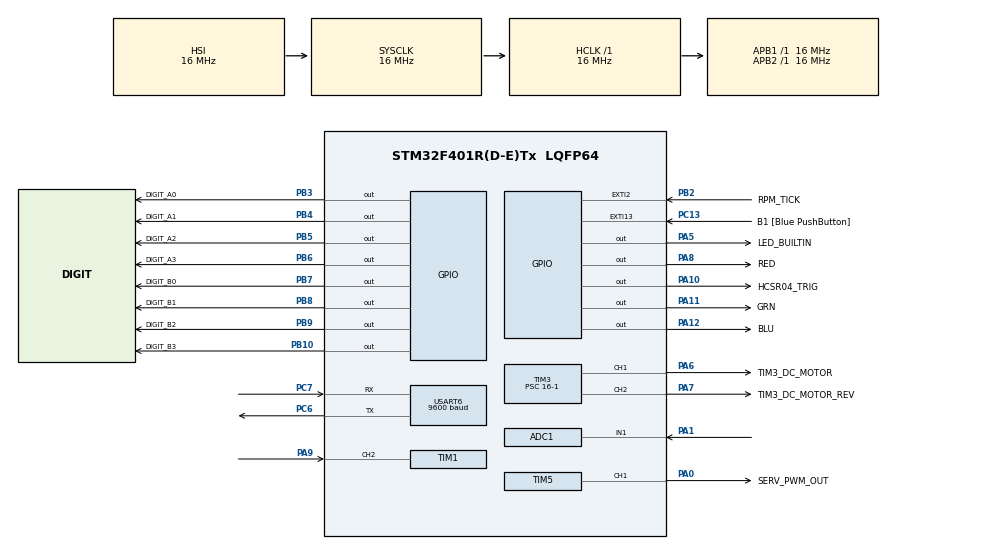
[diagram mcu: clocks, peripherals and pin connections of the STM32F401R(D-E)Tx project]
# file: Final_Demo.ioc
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ADC1.Channel-3\#ChannelRegularConversion=ADC_CHANNEL_1
ADC1.NbrOfConversionFlag=1
ADC1.Rank-3\#ChannelRegularConversion=1
ADC1.Resolution=ADC_RESOLUTION_8B
ADC1.SamplingTime-3\#ChannelRegularConversion=ADC_SAMPLETIME_15CYCLES
ADC1.ScanConvMode=ENABLE
ADC1.master=1
Mcu.Family=STM32F4
Mcu.Name=STM32F401R(D-E)Tx
Mcu.Package=LQFP64
NVIC.EXTI15_10_IRQn=true\:0\:0\:false\:false\:true\:true\:true\:true
NVIC.EXTI2_IRQn=true\:0\:0\:false\:false\:true\:true\:true\:true
NVIC.PriorityGroup=NVIC_PRIORITYGROUP_0
NVIC.TIM1_BRK_TIM9_IRQn=true\:0\:0\:false\:false\:true\:true\:true\:true
NVIC.TIM1_CC_IRQn=true\:0\:0\:false\:false\:true\:true\:true\:true
NVIC.TIM4_IRQn=true\:0\:0\:false\:false\:true\:true\:true\:true
NVIC.USART6_IRQn=true\:0\:0\:false\:false\:true\:true\:true\:true
PA0-WKUP.GPIO_Label=SERV_PWM_OUT
PA0-WKUP.Signal=S_TIM5_CH1
PA1.Signal=ADCx_IN1
PA10.GPIO_Label=HCSR04_TRIG
PA10.GPIO_Speed=GPIO_SPEED_FREQ_VERY_HIGH
PA10.Signal=GPIO_Output
PA11.GPIO_Label=GRN
PA11.Signal=GPIO_Output
PA12.GPIO_Label=BLU
PA12.Signal=GPIO_Output
PA13.GPIO_Label=TMS
PA13.Mode=Serial_Wire
PA13.Signal=SYS_JTMS-SWDIO
PA14.GPIO_Label=TCK
PA14.Mode=Serial_Wire
PA14.Signal=SYS_JTCK-SWCLK
PA5.GPIO_Label=LED_BUILTIN
PA5.Signal=GPIO_Output
PA6.GPIO_Label=TIM3_DC_MOTOR
PA6.Signal=S_TIM3_CH1
PA7.GPIO_Label=TIM3_DC_MOTOR_REV
PA7.Signal=S_TIM3_CH2
PA8.GPIO_Label=RED
PA8.Signal=GPIO_Output
PA9.Signal=S_TIM1_CH2
PB10.GPIO_Label=DIGIT_B3
PB10.Signal=GPIO_Output
PB2.GPIO_Label=RPM_TICK
PB2.GPIO_ModeDefaultEXTI=GPIO_MODE_IT_RISING
PB2.Signal=GPXTI2
PB3.GPIO_Label=DIGIT_A0
PB3.Signal=GPIO_Output
PB4.GPIO_Label=DIGIT_A1
PB4.Signal=GPIO_Output
PB5.GPIO_Label=DIGIT_A2
PB5.Signal=GPIO_Output
PB6.GPIO_Label=DIGIT_A3
PB6.Signal=GPIO_Output
PB7.GPIO_Label=DIGIT_B0
PB7.Signal=GPIO_Output
PB8.GPIO_Label=DIGIT_B1
PB8.Signal=GPIO_Output
PB9.GPIO_Label=DIGIT_B2
PB9.Signal=GPIO_Output
PC13-ANTI_TAMP.GPIO_Label=B1 [Blue PushButton]
PC13-ANTI_TAMP.GPIO_ModeDefaultEXTI=GPIO_MODE_IT_RISING_FALLING
PC13-ANTI_TAMP.GPIO_PuPd=GPIO_NOPULL
PC13-ANTI_TAMP.Signal=GPXTI13
PC14-OSC32_IN.Mode=LSE-External-Oscillator
PC14-OSC32_IN.Signal=RCC_OSC32_IN
PC15-OSC32_OUT.Mode=LSE-External-Oscillator
PC15-OSC32_OUT.Signal=RCC_OSC32_OUT
PC6.Mode=Asynchronous
PC6.Signal=USART6_TX
PC7.Mode=Asynchronous
PC7.Signal=USART6_RX
PH0\ -\ OSC_IN.Mode=HSE-External-Clock-Source
PH0\ -\ OSC_IN.Signal=RCC_OSC_IN
PH1\ -\ OSC_OUT.Mode=HSE-External-Clock-Source
PH1\ -\ OSC_OUT.Signal=RCC_OSC_OUT
ProjectManager.HeapSize=0x200
ProjectManager.StackSize=0x400
ProjectManager.TargetToolchain=STM32CubeIDE
RCC.48MHZClocksFreq_Value=48000000
RCC.AHBFreq_Value=16000000
RCC.APB1Freq_Value=16000000
RCC.APB1TimFreq_Value=16000000
RCC.APB2Freq_Value=16000000
RCC.APB2TimFreq_Value=16000000
RCC.CortexFreq_Value=16000000
RCC.HCLKFreq_Value=16000000
RCC.HSE_VALUE=8000000
RCC.HSI_VALUE=16000000
RCC.PLLN=336
RCC.PLLP=RCC_PLLP_DIV4
RCC.PLLQ=7
RCC.SYSCLKFreq_VALUE=16000000
RCC.VCOOutputFreq_Value=336000000
SH.ADCx_IN1.0=ADC1_IN1,IN1
SH.S_TIM1_CH2.0=TIM1_CH2,Input_Capture2_from_TI2
SH.S_TIM3_CH1.0=TIM3_CH1,PWM Generation1 CH1
SH.S_TIM3_CH2.0=TIM3_CH2,PWM Generation2 CH2
SH.S_TIM5_CH1.0=TIM5_CH1,PWM Generation1 CH1
TIM1.AutoReloadPreload=TIM_AUTORELOAD_PRELOAD_ENABLE
TIM1.Channel-Input_Capture2_from_TI2=TIM_CHANNEL_2
TIM1.ICPolarity_CH2=TIM_INPUTCHANNELPOLARITY_BOTHEDGE
TIM1.Period=38000-1
TIM1.Prescaler=16-1
TIM3.AutoReloadPreload=TIM_AUTORELOAD_PRELOAD_ENABLE
TIM3.Channel-PWM\ Generation1\ CH1=TIM_CHANNEL_1
TIM3.Channel-PWM\ Generation2\ CH2=TIM_CHANNEL_2
TIM3.Period=2000-1
TIM3.Prescaler=16-1
TIM4.AutoReloadPreload=TIM_AUTORELOAD_PRELOAD_ENABLE
TIM4.Period=1000-1
TIM4.Prescaler=16000-1
TIM5.AutoReloadPreload=TIM_AUTORELOAD_PRELOAD_ENABLE
TIM5.Channel-PWM\ Generation1\ CH1=TIM_CHANNEL_1
TIM5.Period=20000-1
TIM5.Prescaler=16-1
TIM5.Pulse-PWM\ Generation1\ CH1=500-1
TIM9.AutoReloadPreload=TIM_AUTORELOAD_PRELOAD_ENABLE
TIM9.Period=3000-1
TIM9.Prescaler=16000-1
USART6.BaudRate=9600
USART6.Mode=MODE_TX_RX
USART6.VirtualMode=VM_ASYNC
VP_TIM1_VS_ClockSourceINT.Mode=Internal
VP_TIM4_VS_ClockSourceINT.Mode=Internal
VP_TIM5_VS_ClockSourceINT.Mode=Internal
VP_TIM9_VS_ClockSourceINT.Mode=Internal
board=NUCLEO-F401RE

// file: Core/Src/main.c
/* USER CODE BEGIN Header */
/**
  ******************************************************************************
  * @file           : main.c
  * @brief          : Main program body
  ******************************************************************************
  * @attention
  *
  * Copyright (c) 2024 STMicroelectronics.
  * All rights reserved.
  *
  * This software is licensed under terms that can be found in the LICENSE file
  * in the root directory of this software component.
  * If no LICENSE file comes with this software, it is provided AS-IS.
  *
  ******************************************************************************
  */
/* USER CODE END Header */
#include "main.h"

/* USER CODE BEGIN PD */
#define BUFFER_SIZE 512
#define SLOTS_PER_REVOLUTION 20  // Adjust this to match your slotted wheel
/* USER CODE END PD */

ADC_HandleTypeDef hadc1;

TIM_HandleTypeDef htim1;
TIM_HandleTypeDef htim3;
TIM_HandleTypeDef htim4;
TIM_HandleTypeDef htim5;
TIM_HandleTypeDef htim9;

UART_HandleTypeDef huart6;

/* USER CODE BEGIN PV */
char buffer[BUFFER_SIZE];
volatile int buffer_index = 0;
uint8_t rx_data;
volatile uint8_t rcv_intpt_flag = 0;
volatile int exit_while_loop = 0;

volatile int inlet_pwm, zone1_pwm, zone2_pwm, zone3_pwm;
volatile int inlet_start, inlet_stop, zone1_start, zone1_stop, zone2_start, zone2_stop, zone3_start, zone3_stop;
volatile uint32_t g_rpm_tick_count = 0;
volatile double g_water_depth = 0;
volatile int g_water_depth_final = 1;
volatile int res_empty = 0;
volatile int g_adc_value = 0;
volatile int g_pwm_percent = 0;
volatile uint32_t g_current_rpm = 0;

// Clock variables
volatile int hours = 0;
volatile int minutes = 0;
volatile int seconds = 0;
volatile int real_seconds = 0;
char txd_msg_buffer[256];

// rgb led vars
typedef enum {
    LED_OFF,
    LED_RED,
    LED_GREEN,
    LED_BLUE,
    LED_PURPLE
} LED_State;

// pwm motor vars
typedef enum {
	INLET,
	OUTLET1,
	OUTLET2,
	OUTLET3,
	IN,
	OUT
} PIPE;

volatile int active_zone = INLET;

/* USER CODE END PV */

void SystemClock_Config(void);
static void MX_GPIO_Init(void);
static void MX_USART6_UART_Init(void);
static void MX_ADC1_Init(void);
static void MX_TIM3_Init(void);
static void MX_TIM5_Init(void);
static void MX_TIM1_Init(void);
static void MX_TIM4_Init(void);
static void MX_TIM9_Init(void);
/* USER CODE BEGIN PFP */
void handle_setup_mode(void);
void prompt_and_receive(const char *prompt, int *value);
void display_value_on_timer_board(int value);
uint8_t get_adc_value(void);
int update_current_water_reservoir_depth(void);
void setLEDState(LED_State state);
void set_dc_motor(PIPE p, double pwm);
void set_pwm_motor(PIPE p);
int get_zone_pwm(PIPE p);
int within_time_interval(int current_time, int time_start, int time_stop);

/* USER CODE END PFP */

/* USER CODE BEGIN 0 */

void HAL_GPIO_EXTI_Callback(uint16_t GPIO_Pin) {
  if (GPIO_Pin == B1_Pin) {
    exit_while_loop++;
  }
  else if (GPIO_Pin == RPM_TICK_Pin) {
    // increment the rpm value
    g_rpm_tick_count++;
  }
}

void HAL_UART_RxCpltCallback(UART_HandleTypeDef *huart)
{
  if (huart->Instance == USART6)
  {
    if (rx_data == '\r')
    {
      buffer[buffer_index] = '\0';
      rcv_intpt_flag = 1;
      buffer_index = 0; // Reset buffer index for next input
      HAL_UART_Transmit(&huart6, (uint8_t *)"\r\n", 2, HAL_MAX_DELAY); // Echo newline
    }
    else
    {
      buffer[buffer_index++] = rx_data;
      HAL_UART_Transmit(&huart6, &rx_data, 1, HAL_MAX_DELAY); // Echo the received character
    }
    HAL_UART_Receive_IT(&huart6, &rx_data, 1);
  }
}

void set_pwm_motor(PIPE p) { //Might have to replace with htim1 as this might be for leds
	switch (p) {
	        case INLET:
	        	// -90, 1ms pulse
	            __HAL_TIM_SET_COMPARE(&htim5, TIM_CHANNEL_1, 650);
	            setLEDState(LED_PURPLE);
	            break;
	        case OUTLET1:
	        	// -30, 1.33ms pulse
	            __HAL_TIM_SET_COMPARE(&htim5, TIM_CHANNEL_1, 500+800);
	            setLEDState(LED_RED);
	            break;
	        case OUTLET2:
	        	// 30, 1.66ms pulse
				__HAL_TIM_SET_COMPARE(&htim5, TIM_CHANNEL_1, 2500-567);
				setLEDState(LED_GREEN);
				break;
	        case OUTLET3:
	        	// 90, 2ms pulse
				__HAL_TIM_SET_COMPARE(&htim5, TIM_CHANNEL_1, 2500);
				setLEDState(LED_BLUE);
				break;
	        default:
	            // Invalid direction, stop the motor
	            break;
	    }
}

void set_dc_motor(PIPE p, double pwm) {
    // Ensure the PWM value is within the valid range (0-100)
    if (pwm < 0) pwm = 0;
    if (pwm > 100) pwm = 100;

    // Calculate the pulse width based on the percentage
    uint32_t pulse = (htim3.Init.Period + 1) * pwm / 100;

    // jumpstart motor to achieve desired pwm if in critical pwm zone and motor off
//    if (pwm < 30 && pwm > 10 && g_current_rpm==0) {
//    	if (p==IN) {
//    		__HAL_TIM_SET_COMPARE(&htim3, TIM_CHANNEL_1, ((htim3.Init.Period + 1) * 50 / 100));
//    	} else if (p==OUT) {
//    		__HAL_TIM_SET_COMPARE(&htim3, TIM_CHANNEL_2, ((htim3.Init.Period + 1) * 50 / 100));
//    	}
//    	HAL_Delay(10);
//    }

    // Set the direction and apply the calculated pulse width
    // stop motor in other direction
    switch (p) {
        case IN:
        	__HAL_TIM_SET_COMPARE(&htim3, TIM_CHANNEL_2, 0);
            __HAL_TIM_SET_COMPARE(&htim3, TIM_CHANNEL_1, pulse);
            break;
        case OUT:
            __HAL_TIM_SET_COMPARE(&htim3, TIM_CHANNEL_1, 0);
            __HAL_TIM_SET_COMPARE(&htim3, TIM_CHANNEL_2, pulse);
            break;
        default:
            // Invalid direction, stop the motor
            __HAL_TIM_SET_COMPARE(&htim3, TIM_CHANNEL_1, 0);
            __HAL_TIM_SET_COMPARE(&htim3, TIM_CHANNEL_2, 0);
            break;
    }
}

void setLEDState(LED_State state) {
    // Turn off all LEDs first
    HAL_GPIO_WritePin(GPIOA, RED_Pin, GPIO_PIN_RESET);  // RED
    HAL_GPIO_WritePin(GPIOA, GRN_Pin, GPIO_PIN_RESET);  // GRN
    HAL_GPIO_WritePin(GPIOA, BLU_Pin, GPIO_PIN_RESET);  // BLU

    // Set the desired state
    switch (state) {
        case LED_OFF:
            // All LEDs are already off
            break;
        case LED_RED:
            HAL_GPIO_WritePin(GPIOA, RED_Pin, GPIO_PIN_SET);  // RED on
            break;
        case LED_GREEN:
            HAL_GPIO_WritePin(GPIOA, GRN_Pin, GPIO_PIN_SET);  // GREEN on
            break;
        case LED_BLUE:
            HAL_GPIO_WritePin(GPIOA, BLU_Pin, GPIO_PIN_SET);  // BLUE on
            break;
        case LED_PURPLE:
            HAL_GPIO_WritePin(GPIOA, RED_Pin, GPIO_PIN_SET);  // RED on
            HAL_GPIO_WritePin(GPIOA, BLU_Pin, GPIO_PIN_SET);  // BLUE on
            break;
        default:
            // Invalid state
            break;
    }
}

void handle_setup_mode(void)
{
  char response[BUFFER_SIZE];

  snprintf(response, BUFFER_SIZE, "SETUP MODE\r\n");
  HAL_UART_Transmit(&huart6, (uint8_t *)response, strlen(response), HAL_MAX_DELAY);
  snprintf(response, BUFFER_SIZE, "0 - MANUAL, 1 - 60% PWM, 2 - 80% PWM, 3 - 99% PWM\r\n");
  HAL_UART_Transmit(&huart6, (uint8_t *)response, strlen(response), HAL_MAX_DELAY);

  prompt_and_receive("Enter Inlet Motor Speed PWM (0-3): ", &inlet_pwm);
  prompt_and_receive("Enter Zone 1 Motor Speed PWM (0-3): ", &zone1_pwm);
  prompt_and_receive("Enter Zone 2 Motor Speed PWM (0-3): ", &zone2_pwm);
  prompt_and_receive("Enter Zone 3 Motor Speed PWM (0-3): ", &zone3_pwm);
  snprintf(response, BUFFER_SIZE, "\n0 - 12AM, 1 - 1AM, ... , 22 - 10PM, 23 - 11PM\r\n");
  HAL_UART_Transmit(&huart6, (uint8_t *)response, strlen(response), HAL_MAX_DELAY);

  prompt_and_receive("Enter Current Wall Clock Time (00-23): ", &hours);
  prompt_and_receive("Enter Inlet Wall Clock Start Time (00-23): ", &inlet_start);
  prompt_and_receive("Enter Inlet Wall Clock Stop Time (00-23): ", &inlet_stop);
  prompt_and_receive("Enter Zone 1 Wall Clock Start Time (00-23): ", &zone1_start);
  prompt_and_receive("Enter Zone 1 Wall Clock Stop Time (00-23): ", &zone1_stop);
  prompt_and_receive("Enter Zone 2 Wall Clock Start Time (00-23): ", &zone2_start);
  prompt_and_receive("Enter Zone 2 Wall Clock Stop Time (00-23): ", &zone2_stop);
  prompt_and_receive("Enter Zone 3 Wall Clock Start Time (00-23): ", &zone3_start);
  prompt_and_receive("Enter Zone 3 Wall Clock Stop Time (00-23): ", &zone3_stop);
//
//  snprintf(response, BUFFER_SIZE, "Configuration Completed:\r\nInlet PWM: %d\r\nZone 1 PWM: %d\r\nZone 2 PWM: %d\r\nZone 3 PWM: %d\r\nCurrent Time: %d\r\nInlet Start: %d\r\nInlet Stop: %d\r\nZone 1 Start: %d\r\nZone 1 Stop: %d\r\nZone 2 Start: %d\r\nZone 2 Stop: %d\r\nZone 3 Start: %d\r\nZone 3 Stop: %d\r\n",
//           inlet_pwm, zone1_pwm, zone2_pwm, zone3_pwm, current_time, inlet_start, inlet_stop, zone1_start, zone1_stop, zone2_start, zone2_stop, zone3_start, zone3_stop);
  HAL_UART_Transmit(&huart6, "\r\n", 2, HAL_MAX_DELAY);
}

void prompt_and_receive(const char *prompt, int *value)
{
  char response[BUFFER_SIZE];

  HAL_UART_Transmit(&huart6, (uint8_t *)prompt, strlen(prompt), HAL_MAX_DELAY);
  rcv_intpt_flag = 0;
  while (!rcv_intpt_flag); // Wait for input
  sscanf(buffer, "%d", value); // load value with the inputted characters
}

volatile uint32_t g_last_rpm_calc_time = 0;
void HAL_TIM_PeriodElapsedCallback(TIM_HandleTypeDef *htim)
{
  if (htim->Instance == TIM4) {
    real_seconds++;

    seconds += 600;
    if (seconds >= 60) {
      minutes += seconds / 60;
      seconds %= 60;
      if (minutes >= 60) {
        hours += minutes / 60;
        minutes %= 60;
        if (hours >= 24) {
          hours %= 24;
        }
        // Update display every hour
        update_display();
      }
    }
    //display_value_on_timer_board(g_water_depth);
  }
  else if (htim->Instance == TIM9) {
//	  HAL_UART_Transmit(&huart6, "TIM9", 2, HAL_MAX_DELAY);
	  //global update rpm (this is always over 100ms time interval since timer has period of 100ms)
	  // apply correction factor after
	  uint32_t temp_tick = g_rpm_tick_count;
	  	g_current_rpm = (((temp_tick/3.0) * 60.0) / (SLOTS_PER_REVOLUTION))*0.69;
	  	g_rpm_tick_count = 0;  // Reset the count for the next sample period

  }
}

int g_first_edge = 0;
int g_time_edge1 = 0;
int g_time_edge2 = 0;
int g_time_diff = 0;
int g_hcsr04_Rx_flag = 0;
void HAL_TIM_IC_CaptureCallback(TIM_HandleTypeDef *htim)
{
//	 HAL_UART_Transmit(&huart6, "AAA", 3, 1000);
    if (htim->Instance == TIM1)
    {
        if (htim->Channel == 2)
        {
             if (g_first_edge == 0)  // if the first value is not captured
             {
                 g_time_edge1 = HAL_TIM_ReadCapturedValue(htim, TIM_CHANNEL_2);  // read the first value
                 g_first_edge = 1;  // set the first captured as true
             }
             else  // if the first is already captured
             {
                 g_time_edge2 = HAL_TIM_ReadCapturedValue(htim, TIM_CHANNEL_2);  // read second value
                 __HAL_TIM_SET_COUNTER(htim, 0);  // reset the counter
                 g_hcsr04_Rx_flag = 1;  // set the interrupt flag for result done

                 g_time_diff = g_time_edge2 - g_time_edge1;

                 /* enter below your distance calculation here that uses HCSR04 datasheet information */
                 // distance in inches
                 g_water_depth = g_time_diff/148.0;
                 //g_water_depth = g_water_depth / 10;
             }

        }
    }
}

int get_zone_pwm(PIPE p) {
    switch (p) {
        case INLET:
            if (!inlet_pwm) {
                return (g_adc_value / 256.0) * 100;
            } else if (inlet_pwm == 1) {
                return 60;
            } else if (inlet_pwm == 2) {
                return 80;
            } else if (inlet_pwm == 3) {
                return 99;
            }
            break;
        case OUTLET1:
            if (!zone1_pwm) {
                return (g_adc_value / 256.0) * 100;
            } else if (zone1_pwm == 1) {
                return 60;
            } else if (zone1_pwm == 2) {
                return 80;
            } else if (zone1_pwm == 3) {
                return 99;
            }
            break;
        case OUTLET2:
            if (!zone2_pwm) {
                return (g_adc_value / 256.0) * 100;
            } else if (zone2_pwm == 1) {
                return 60;
            } else if (zone2_pwm == 2) {
                return 80;
            } else if (zone2_pwm == 3) {
                return 99;
            }
            break;
        case OUTLET3:
            if (!zone3_pwm) {
                return (g_adc_value / 256.0) * 100;
            } else if (zone3_pwm == 1) {
                return 60;
            } else if (zone3_pwm == 2) {
                return 80;
            } else if (zone3_pwm == 3) {
                return 99;
            }
            break;
        default:
            // Handle the default case if needed
            break;
    }
    // Return a default value if the PIPE is not recognized
    return 0;
}

// Add this new function
volatile int inlet = 1;
volatile int lastlast = 0;
void update_display(void)
{
  char string_zone[10] = "INLET";
//  int active_pwm = 0;
//  int motor_rpm = 0;

	  // try inlet phase XOR outlet phase
  	  // only set the active zones here
	  if (inlet) {
		  active_zone = INLET;
		  set_pwm_motor(INLET);
		  if (hours==inlet_stop && g_water_depth_final>=99) {
			  inlet = 0;
		  }
	  }
	  // when we are done with inlet, we choose any outlet based on current operation availability
	  if (!inlet){
		  // we check check that the outlet doesn't get repeated if others are available (fair distribution)
		  if (within_time_interval(hours, zone1_start, zone1_stop) && active_zone != OUTLET1 && lastlast != OUTLET1) {
			  lastlast = active_zone;
			  active_zone = OUTLET1;
			  set_pwm_motor(OUTLET1);
		  }
		  else if (within_time_interval(hours, zone2_start, zone2_stop) && active_zone != OUTLET2  && lastlast != OUTLET2) {
			  lastlast = active_zone;
			  active_zone = OUTLET2;
			  set_pwm_motor(OUTLET2);
		  }
		  else if (within_time_interval(hours, zone3_start, zone3_stop) && active_zone != OUTLET3  && lastlast != OUTLET3) {
			  lastlast = active_zone;
			  active_zone = OUTLET3;
			  set_pwm_motor(OUTLET3);
		  }
	  }

  // Determine active zone string
  switch(active_zone) {
    case INLET:  sprintf(string_zone, "INLET"); break;
    case OUTLET1: sprintf(string_zone, "ZONE 1"); break;
    case OUTLET2: sprintf(string_zone, "ZONE 2"); break;
    case OUTLET3: sprintf(string_zone, "ZONE 3"); break;
  }

  // motor rpm assumed to be updated

  // depth assumed to be updated
//  update_current_water_reservoir_depth();

  // Format and send the display update
//  __disable_irq();
  sprintf(txd_msg_buffer, "WALL CLOCK: %d:00 | ZONE/INLET: %s | MOTOR %%PWM: %d | MOTOR RPM: %d | WATER DEPTH(%%): %d\r\n",
          hours, string_zone, get_zone_pwm(active_zone), g_current_rpm, g_water_depth_final);
//  __enable_irq();
  HAL_UART_Transmit(&huart6, (uint8_t*)txd_msg_buffer, strlen(txd_msg_buffer), 1000);
}

uint8_t get_adc_value() {
    HAL_ADC_Start(&hadc1);
    // Poll for the end of the conversion
    HAL_ADC_PollForConversion(&hadc1, 1000);
    // Get the converted value
    uint8_t ADC_CH9 = HAL_ADC_GetValue(&hadc1);
    // Stop the ADC
    HAL_ADC_Stop(&hadc1);
    // Return the ADC value
    return ADC_CH9;
}

volatile int previous_depth = 1;
int update_current_water_reservoir_depth(void) //REPLACE THIS WITH US100 CODE INSTEAD!!!
{
  // Simulate the water reservoir depth value; replace this with actual sensor reading if available

  // Trigger the sensor by sending a 10us pulse
  HAL_GPIO_WritePin(HCSR04_TRIG_GPIO_Port, HCSR04_TRIG_Pin, GPIO_PIN_SET);
  for (int j = 0; j < 20; j++) {};
  HAL_GPIO_WritePin(HCSR04_TRIG_GPIO_Port, HCSR04_TRIG_Pin, GPIO_PIN_RESET);

  // Wait for the sensor to finish reading
  while (!g_hcsr04_Rx_flag) {
    //HAL_UART_Transmit(&huart6, "lol", 3, 1000);
  };

  // at this point distance in inches in the var: g_water_depth

  // set max of 10 inches, reverse the result (since closer distance means greater depth of water) and convert the depth to percent
  g_water_depth = (g_water_depth<=10) ? g_water_depth : 10.0;
  g_water_depth = 10.0 - g_water_depth;

  previous_depth = g_water_depth_final;
  g_water_depth_final = ((g_water_depth / 10.0) < 1) ? (g_water_depth / 10.0)*100 : 99;

  // update condition for special event, require 2 readings to be 0 to prevent outliers
    if (g_water_depth_final==0 && previous_depth==0) {
      res_empty = 1;
    }

//    sprintf(txd_msg_buffer, "Water Depth: %d\r\n", g_water_depth);
//    HAL_UART_Transmit(&huart6, (uint8_t*)txd_msg_buffer, strlen(txd_msg_buffer), 1000);

  return g_water_depth_final;
}

void display_value_on_timer_board(int value) //try replacing code with provided code here https://learn.uwaterloo.ca/d2l/le/content/1051354/viewContent/5567606/View
{
    /* Legend
    A is tens digit
    B is ones digit

    B3 is MSb, ie writing 8 = 1000[B3,B2,B1,B0]
    A3 is MSb, ie writing 8 = 1000[A3,A2,A1,A0]
    */
    if (value < 0 || value > 99) {
        // Invalid value, do nothing
        return;
    }

    int tens = value / 10;
    int ones = value % 10;

    // Write the tens digit to the first set of digit pins (DIGIT_A)
    HAL_GPIO_WritePin(GPIOB, GPIO_PIN_3, (tens & 0x01) ? GPIO_PIN_SET : GPIO_PIN_RESET);  // DIGIT_A0 -> PB3
    HAL_GPIO_WritePin(GPIOB, GPIO_PIN_4, (tens & 0x02) ? GPIO_PIN_SET : GPIO_PIN_RESET);  // DIGIT_A1 -> PB4
    HAL_GPIO_WritePin(GPIOB, GPIO_PIN_5, (tens & 0x04) ? GPIO_PIN_SET : GPIO_PIN_RESET);  // DIGIT_A2 -> PB5
    HAL_GPIO_WritePin(GPIOB, GPIO_PIN_6, (tens & 0x08) ? GPIO_PIN_SET : GPIO_PIN_RESET);  // DIGIT_A3 -> PB6

    // Write the ones digit to the second set of digit pins (DIGIT_B)
    HAL_GPIO_WritePin(GPIOB, GPIO_PIN_7, (ones & 0x01) ? GPIO_PIN_SET : GPIO_PIN_RESET);  // DIGIT_B0 -> PB7
    HAL_GPIO_WritePin(GPIOB, GPIO_PIN_8, (ones & 0x02) ? GPIO_PIN_SET : GPIO_PIN_RESET);  // DIGIT_B1 -> PB8
    HAL_GPIO_WritePin(GPIOB, GPIO_PIN_9, (ones & 0x04) ? GPIO_PIN_SET : GPIO_PIN_RESET);  // DIGIT_B2 -> PB9
    HAL_GPIO_WritePin(GPIOB, GPIO_PIN_10, (ones & 0x08) ? GPIO_PIN_SET : GPIO_PIN_RESET); // DIGIT_B3 -> PB10
}

int within_time_interval(int current_time, int time_start, int time_stop) {
    // Ensure the input times are within the valid range
    if (current_time < 0 || current_time > 23 || time_start < 0 || time_start > 23 || time_stop < 0 || time_stop > 23) {
        return 0;
    }
    // Case 1: Interval covers the full 24-hour period
	if (time_start == time_stop) {
		return 1;
	}

    // Case 2: Interval does not cross midnight
    if (time_start < time_stop) {
        return (current_time >= time_start && current_time < time_stop);
    }
    // Case 3: Interval crosses midnight
    else {
        return (current_time >= time_start || current_time < time_stop);
    }
}
/* USER CODE END 0 */

int main(void)
{

  /* MCU Configuration--------------------------------------------------------*/

  /* Reset of all peripherals, Initializes the Flash interface and the Systick. */
  HAL_Init();

  /* Configure the system clock */
  SystemClock_Config();

  /* Initialize all configured peripherals */
  MX_GPIO_Init();
  MX_USART6_UART_Init();
  MX_ADC1_Init();
  MX_TIM3_Init();
  MX_TIM5_Init();
  MX_TIM1_Init();
  MX_TIM4_Init();
  MX_TIM9_Init();
  /* USER CODE BEGIN 2 */
  // Turn off the green LED (PA5), rgb, dc motor
  HAL_GPIO_WritePin(GPIOA, GPIO_PIN_5, GPIO_PIN_RESET);
  setLEDState(LED_OFF);
  set_dc_motor(IN,0);

  // clear the uart terminal
  const char clearScreen[] = "\033[2J\033[H";
  HAL_UART_Transmit(&huart6, (uint8_t*)clearScreen, strlen(clearScreen), HAL_MAX_DELAY);

  // Start receiving data via interrupt
  HAL_UART_Receive_IT(&huart6, &rx_data, 1);

  // Indicate entering setup mode
  handle_setup_mode();

  // Turn on the green LED after setup mode
  exit_while_loop = 0;
  while (1)
  {
    // Toggle the green LED
    HAL_GPIO_TogglePin(GPIOA, GPIO_PIN_5);

    // Wait for 200ms
    HAL_Delay(200);
    // Check if the external interrupt from pin C13 (the blue Nucleo push button) is triggered
    if (exit_while_loop>1)
    {

      // Break out of the while loop
      break;
    }
  }

  /* USER CODE BEGIN 2 */
  HAL_GPIO_WritePin(GPIOA, GPIO_PIN_5, GPIO_PIN_SET);

  // Start the timer for the clock counter, depth sensor
  HAL_TIM_Base_Init(&htim4);
  HAL_TIM_Base_Start_IT(&htim4);
  HAL_TIM_Base_Init(&htim1);
  HAL_TIM_Base_Start_IT(&htim1);
  HAL_TIM_IC_Start_IT(&htim1, TIM_CHANNEL_2);
  // start timer for rpm sensor
  HAL_TIM_Base_Init(&htim9);
  HAL_TIM_Base_Start_IT(&htim9);
  // timers for DC motor and SERVO motor
  HAL_TIM_Base_Init(&htim3);
  HAL_TIM_PWM_Start(&htim3, TIM_CHANNEL_1);
  HAL_TIM_PWM_Start(&htim3, TIM_CHANNEL_2);
  HAL_TIM_Base_Init(&htim5);
  HAL_TIM_PWM_Start(&htim5, TIM_CHANNEL_1);
  set_pwm_motor(INLET);

  update_current_water_reservoir_depth();
  g_adc_value = get_adc_value();
  update_display();

  HAL_TIM_Base_Init(&htim9);
  HAL_TIM_Base_Start_IT(&htim9);
  /* USER CODE END 2 */

  /* Infinite loop */
  /* USER CODE BEGIN WHILE */
  while (1)
  {
	  	  // set_dc_motor(IN,(g_adc_value/256.0)*100);
	  	  // __HAL_TIM_SET_COMPARE(&htim5, TIM_CHANNEL_1, val+=50);
	  	  // if (val>2500) {val=500	;}
	  	  // set_pwm_motor((val++)%4);

	  	  // update res depth/7seg, and adc
	  	  update_current_water_reservoir_depth();
	  	  display_value_on_timer_board(g_water_depth_final);
	  	  g_adc_value = get_adc_value();

		  // Determine pump speed/dir based on active zone
		    switch(active_zone) {
		      case INLET:
		    	  // if reservoir full stop the pump, check completion
				  // otherwise pump during active time
				  if (g_water_depth_final<99) {
					  if (within_time_interval(hours, inlet_start, inlet_stop)) {
						  set_dc_motor(IN, get_zone_pwm(INLET));
					  } else {
						  set_dc_motor(IN, 0);
					  }

				  } else {
					  set_dc_motor(IN,0);
				  }
		    	  break;
		      case OUTLET1:
		    	  if (within_time_interval(hours, zone1_start, zone1_stop)) {
					  set_dc_motor(OUT, get_zone_pwm(OUTLET1));
				  } else {
					  set_dc_motor(OUT, 0);
				  }
		    	  break;
		      case OUTLET2:
		    	  if (within_time_interval(hours, zone2_start, zone2_stop)) {
					  set_dc_motor(OUT, get_zone_pwm(OUTLET2));
				  } else {
					  set_dc_motor(OUT, 0);
				  }
		      	  break;
		      case OUTLET3:
		    	  if (within_time_interval(hours, zone3_start, zone3_stop)) {
					  set_dc_motor(OUT, get_zone_pwm(OUTLET3));
				  } else {
					  set_dc_motor(OUT, 0);
				  }
		      	  break;
		    }

	  	  // Determine active zone and PWM
	  	//  if (hours >= inlet_start && hours < inlet_stop) {
	  	//    strcpy(active_zone, "Inlet");
	  	//    active_pwm = inlet_pwm;
	  	//  } else if (hours >= zone1_start && hours < zone1_stop) {
	  	//    strcpy(active_zone, "Zone 1");
	  	//    active_pwm = zone1_pwm;
	  	//  } else if (hours >= zone2_start && hours < zone2_stop) {
	  	//    strcpy(active_zone, "Zone 2");
	  	//    active_pwm = zone2_pwm;
	  	//  } else if (hours >= zone3_start && hours < zone3_stop) {
	  	//    strcpy(active_zone, "Zone 3");
	  	//    active_pwm = zone3_pwm;
	  	//  }

	  	  // check special event (res depth==0)
	  	  if (res_empty) {
	  		  // stop all irq to halt system
	  		  __disable_irq();
	  		  // turn off builtin led and transmit reservoir empty
	  		  HAL_GPIO_WritePin(GPIOA, GPIO_PIN_5, GPIO_PIN_RESET);
	  		  HAL_UART_Transmit(&huart6, "\r\nRESERVOIR IS EMPTY\r\n", 22, 1000);

	  		// disable pump
	  		set_dc_motor(OUT,0);
	  		  // sequence the RGB led in RGB in intervals of 500ms roughly
	  		  while(1) {
	  			  setLEDState(LED_RED);
	  			for (int j = 0; j < 500000; j++) {};
					setLEDState(LED_GREEN);
					for (int j = 0; j < 500000; j++) {};
					setLEDState(LED_BLUE);
					for (int j = 0; j < 500000; j++) {};
	  		  }

	  	  }

	  // delay margin to accommodate for sensor polling break time
	  HAL_Delay(200);
    /* USER CODE END WHILE */

  }
}

void SystemClock_Config(void)
{
  RCC_OscInitTypeDef RCC_OscInitStruct = {0};
  RCC_ClkInitTypeDef RCC_ClkInitStruct = {0};

  /** Configure the main internal regulator output voltage
  */
  __HAL_RCC_PWR_CLK_ENABLE();
  __HAL_PWR_VOLTAGESCALING_CONFIG(PWR_REGULATOR_VOLTAGE_SCALE2);

  /** Initializes the RCC Oscillators according to the specified parameters
  * in the RCC_OscInitTypeDef structure.
  */
  RCC_OscInitStruct.OscillatorType = RCC_OSCILLATORTYPE_HSI;
  RCC_OscInitStruct.HSIState = RCC_HSI_ON;
  RCC_OscInitStruct.HSICalibrationValue = RCC_HSICALIBRATION_DEFAULT;
  RCC_OscInitStruct.PLL.PLLState = RCC_PLL_NONE;
  if (HAL_RCC_OscConfig(&RCC_OscInitStruct) != HAL_OK)
  {
    Error_Handler();
  }

  /** Initializes the CPU, AHB and APB buses clocks
  */
  RCC_ClkInitStruct.ClockType = RCC_CLOCKTYPE_HCLK|RCC_CLOCKTYPE_SYSCLK
                              |RCC_CLOCKTYPE_PCLK1|RCC_CLOCKTYPE_PCLK2;
  RCC_ClkInitStruct.SYSCLKSource = RCC_SYSCLKSOURCE_HSI;
  RCC_ClkInitStruct.AHBCLKDivider = RCC_SYSCLK_DIV1;
  RCC_ClkInitStruct.APB1CLKDivider = RCC_HCLK_DIV1;
  RCC_ClkInitStruct.APB2CLKDivider = RCC_HCLK_DIV1;

  if (HAL_RCC_ClockConfig(&RCC_ClkInitStruct, FLASH_LATENCY_0) != HAL_OK)
  {
    Error_Handler();
  }
}

static void MX_ADC1_Init(void)
{

  ADC_ChannelConfTypeDef sConfig = {0};

  /** Configure the global features of the ADC (Clock, Resolution, Data Alignment and number of conversion)
  */
  hadc1.Instance = ADC1;
  hadc1.Init.ClockPrescaler = ADC_CLOCK_SYNC_PCLK_DIV2;
  hadc1.Init.Resolution = ADC_RESOLUTION_8B;
  hadc1.Init.ScanConvMode = ENABLE;
  hadc1.Init.ContinuousConvMode = DISABLE;
  hadc1.Init.DiscontinuousConvMode = DISABLE;
  hadc1.Init.ExternalTrigConvEdge = ADC_EXTERNALTRIGCONVEDGE_NONE;
  hadc1.Init.ExternalTrigConv = ADC_SOFTWARE_START;
  hadc1.Init.DataAlign = ADC_DATAALIGN_RIGHT;
  hadc1.Init.NbrOfConversion = 1;
  hadc1.Init.DMAContinuousRequests = DISABLE;
  hadc1.Init.EOCSelection = ADC_EOC_SINGLE_CONV;
  if (HAL_ADC_Init(&hadc1) != HAL_OK)
  {
    Error_Handler();
  }

  /** Configure for the selected ADC regular channel its corresponding rank in the sequencer and its sample time.
  */
  sConfig.Channel = ADC_CHANNEL_1;
  sConfig.Rank = 1;
  sConfig.SamplingTime = ADC_SAMPLETIME_15CYCLES;
  if (HAL_ADC_ConfigChannel(&hadc1, &sConfig) != HAL_OK)
  {
    Error_Handler();
  }

}

static void MX_TIM1_Init(void)
{

  TIM_ClockConfigTypeDef sClockSourceConfig = {0};
  TIM_MasterConfigTypeDef sMasterConfig = {0};
  TIM_IC_InitTypeDef sConfigIC = {0};

  htim1.Instance = TIM1;
  htim1.Init.Prescaler = 16-1;
  htim1.Init.CounterMode = TIM_COUNTERMODE_UP;
  htim1.Init.Period = 38000-1;
  htim1.Init.ClockDivision = TIM_CLOCKDIVISION_DIV1;
  htim1.Init.RepetitionCounter = 0;
  htim1.Init.AutoReloadPreload = TIM_AUTORELOAD_PRELOAD_ENABLE;
  if (HAL_TIM_Base_Init(&htim1) != HAL_OK)
  {
    Error_Handler();
  }
  sClockSourceConfig.ClockSource = TIM_CLOCKSOURCE_INTERNAL;
  if (HAL_TIM_ConfigClockSource(&htim1, &sClockSourceConfig) != HAL_OK)
  {
    Error_Handler();
  }
  if (HAL_TIM_IC_Init(&htim1) != HAL_OK)
  {
    Error_Handler();
  }
  sMasterConfig.MasterOutputTrigger = TIM_TRGO_RESET;
  sMasterConfig.MasterSlaveMode = TIM_MASTERSLAVEMODE_DISABLE;
  if (HAL_TIMEx_MasterConfigSynchronization(&htim1, &sMasterConfig) != HAL_OK)
  {
    Error_Handler();
  }
  sConfigIC.ICPolarity = TIM_INPUTCHANNELPOLARITY_BOTHEDGE;
  sConfigIC.ICSelection = TIM_ICSELECTION_DIRECTTI;
  sConfigIC.ICPrescaler = TIM_ICPSC_DIV1;
  sConfigIC.ICFilter = 0;
  if (HAL_TIM_IC_ConfigChannel(&htim1, &sConfigIC, TIM_CHANNEL_2) != HAL_OK)
  {
    Error_Handler();
  }

}

static void MX_TIM3_Init(void)
{

  TIM_MasterConfigTypeDef sMasterConfig = {0};
  TIM_OC_InitTypeDef sConfigOC = {0};

  htim3.Instance = TIM3;
  htim3.Init.Prescaler = 16-1;
  htim3.Init.CounterMode = TIM_COUNTERMODE_UP;
  htim3.Init.Period = 2000-1;
  htim3.Init.ClockDivision = TIM_CLOCKDIVISION_DIV1;
  htim3.Init.AutoReloadPreload = TIM_AUTORELOAD_PRELOAD_ENABLE;
  if (HAL_TIM_PWM_Init(&htim3) != HAL_OK)
  {
    Error_Handler();
  }
  sMasterConfig.MasterOutputTrigger = TIM_TRGO_RESET;
  sMasterConfig.MasterSlaveMode = TIM_MASTERSLAVEMODE_DISABLE;
  if (HAL_TIMEx_MasterConfigSynchronization(&htim3, &sMasterConfig) != HAL_OK)
  {
    Error_Handler();
  }
  sConfigOC.OCMode = TIM_OCMODE_PWM1;
  sConfigOC.Pulse = 0;
  sConfigOC.OCPolarity = TIM_OCPOLARITY_HIGH;
  sConfigOC.OCFastMode = TIM_OCFAST_DISABLE;
  if (HAL_TIM_PWM_ConfigChannel(&htim3, &sConfigOC, TIM_CHANNEL_1) != HAL_OK)
  {
    Error_Handler();
  }
  if (HAL_TIM_PWM_ConfigChannel(&htim3, &sConfigOC, TIM_CHANNEL_2) != HAL_OK)
  {
    Error_Handler();
  }
  HAL_TIM_MspPostInit(&htim3);

}

static void MX_TIM4_Init(void)
{

  TIM_ClockConfigTypeDef sClockSourceConfig = {0};
  TIM_MasterConfigTypeDef sMasterConfig = {0};

  htim4.Instance = TIM4;
  htim4.Init.Prescaler = 16000-1;
  htim4.Init.CounterMode = TIM_COUNTERMODE_UP;
  htim4.Init.Period = 1000-1;
  htim4.Init.ClockDivision = TIM_CLOCKDIVISION_DIV1;
  htim4.Init.AutoReloadPreload = TIM_AUTORELOAD_PRELOAD_ENABLE;
  if (HAL_TIM_Base_Init(&htim4) != HAL_OK)
  {
    Error_Handler();
  }
  sClockSourceConfig.ClockSource = TIM_CLOCKSOURCE_INTERNAL;
  if (HAL_TIM_ConfigClockSource(&htim4, &sClockSourceConfig) != HAL_OK)
  {
    Error_Handler();
  }
  sMasterConfig.MasterOutputTrigger = TIM_TRGO_RESET;
  sMasterConfig.MasterSlaveMode = TIM_MASTERSLAVEMODE_DISABLE;
  if (HAL_TIMEx_MasterConfigSynchronization(&htim4, &sMasterConfig) != HAL_OK)
  {
    Error_Handler();
  }

}

static void MX_TIM5_Init(void)
{

  TIM_ClockConfigTypeDef sClockSourceConfig = {0};
  TIM_MasterConfigTypeDef sMasterConfig = {0};
  TIM_OC_InitTypeDef sConfigOC = {0};

  htim5.Instance = TIM5;
  htim5.Init.Prescaler = 16-1;
  htim5.Init.CounterMode = TIM_COUNTERMODE_UP;
  htim5.Init.Period = 20000-1;
  htim5.Init.ClockDivision = TIM_CLOCKDIVISION_DIV1;
  htim5.Init.AutoReloadPreload = TIM_AUTORELOAD_PRELOAD_ENABLE;
  if (HAL_TIM_Base_Init(&htim5) != HAL_OK)
  {
    Error_Handler();
  }
  sClockSourceConfig.ClockSource = TIM_CLOCKSOURCE_INTERNAL;
  if (HAL_TIM_ConfigClockSource(&htim5, &sClockSourceConfig) != HAL_OK)
  {
    Error_Handler();
  }
  if (HAL_TIM_PWM_Init(&htim5) != HAL_OK)
  {
    Error_Handler();
  }
  sMasterConfig.MasterOutputTrigger = TIM_TRGO_RESET;
  sMasterConfig.MasterSlaveMode = TIM_MASTERSLAVEMODE_DISABLE;
  if (HAL_TIMEx_MasterConfigSynchronization(&htim5, &sMasterConfig) != HAL_OK)
  {
    Error_Handler();
  }
  sConfigOC.OCMode = TIM_OCMODE_PWM1;
  sConfigOC.Pulse = 500-1;
  sConfigOC.OCPolarity = TIM_OCPOLARITY_HIGH;
  sConfigOC.OCFastMode = TIM_OCFAST_DISABLE;
  if (HAL_TIM_PWM_ConfigChannel(&htim5, &sConfigOC, TIM_CHANNEL_1) != HAL_OK)
  {
    Error_Handler();
  }
  HAL_TIM_MspPostInit(&htim5);

}

static void MX_TIM9_Init(void)
{

  TIM_ClockConfigTypeDef sClockSourceConfig = {0};

  htim9.Instance = TIM9;
  htim9.Init.Prescaler = 16000-1;
  htim9.Init.CounterMode = TIM_COUNTERMODE_UP;
  htim9.Init.Period = 3000-1;
  htim9.Init.ClockDivision = TIM_CLOCKDIVISION_DIV1;
  htim9.Init.AutoReloadPreload = TIM_AUTORELOAD_PRELOAD_ENABLE;
  if (HAL_TIM_Base_Init(&htim9) != HAL_OK)
  {
    Error_Handler();
  }
  sClockSourceConfig.ClockSource = TIM_CLOCKSOURCE_INTERNAL;
  if (HAL_TIM_ConfigClockSource(&htim9, &sClockSourceConfig) != HAL_OK)
  {
    Error_Handler();
  }

}

static void MX_USART6_UART_Init(void)
{

  huart6.Instance = USART6;
  huart6.Init.BaudRate = 9600;
  huart6.Init.WordLength = UART_WORDLENGTH_8B;
  huart6.Init.StopBits = UART_STOPBITS_1;
  huart6.Init.Parity = UART_PARITY_NONE;
  huart6.Init.Mode = UART_MODE_TX_RX;
  huart6.Init.HwFlowCtl = UART_HWCONTROL_NONE;
  huart6.Init.OverSampling = UART_OVERSAMPLING_16;
  if (HAL_UART_Init(&huart6) != HAL_OK)
  {
    Error_Handler();
  }

}

static void MX_GPIO_Init(void)
{
  GPIO_InitTypeDef GPIO_InitStruct = {0};

  /* GPIO Ports Clock Enable */
  __HAL_RCC_GPIOC_CLK_ENABLE();
  __HAL_RCC_GPIOH_CLK_ENABLE();
  __HAL_RCC_GPIOA_CLK_ENABLE();
  __HAL_RCC_GPIOB_CLK_ENABLE();

  /*Configure GPIO pin Output Level */
  HAL_GPIO_WritePin(GPIOA, LED_BUILTIN_Pin|RED_Pin|HCSR04_TRIG_Pin|GRN_Pin
                          |BLU_Pin, GPIO_PIN_RESET);

  /*Configure GPIO pin Output Level */
  HAL_GPIO_WritePin(GPIOB, DIGIT_B3_Pin|DIGIT_A0_Pin|DIGIT_A1_Pin|DIGIT_A2_Pin
                          |DIGIT_A3_Pin|DIGIT_B0_Pin|DIGIT_B1_Pin|DIGIT_B2_Pin, GPIO_PIN_RESET);

  /*Configure GPIO pin : B1_Pin */
  GPIO_InitStruct.Pin = B1_Pin;
  GPIO_InitStruct.Mode = GPIO_MODE_IT_RISING_FALLING;
  GPIO_InitStruct.Pull = GPIO_NOPULL;
  HAL_GPIO_Init(B1_GPIO_Port, &GPIO_InitStruct);

  /*Configure GPIO pins : LED_BUILTIN_Pin RED_Pin GRN_Pin BLU_Pin */
  GPIO_InitStruct.Pin = LED_BUILTIN_Pin|RED_Pin|GRN_Pin|BLU_Pin;
  GPIO_InitStruct.Mode = GPIO_MODE_OUTPUT_PP;
  GPIO_InitStruct.Pull = GPIO_NOPULL;
  GPIO_InitStruct.Speed = GPIO_SPEED_FREQ_LOW;
  HAL_GPIO_Init(GPIOA, &GPIO_InitStruct);

  /*Configure GPIO pin : RPM_TICK_Pin */
  GPIO_InitStruct.Pin = RPM_TICK_Pin;
  GPIO_InitStruct.Mode = GPIO_MODE_IT_RISING;
  GPIO_InitStruct.Pull = GPIO_NOPULL;
  HAL_GPIO_Init(RPM_TICK_GPIO_Port, &GPIO_InitStruct);

  /*Configure GPIO pins : DIGIT_B3_Pin DIGIT_A0_Pin DIGIT_A1_Pin DIGIT_A2_Pin
                           DIGIT_A3_Pin DIGIT_B0_Pin DIGIT_B1_Pin DIGIT_B2_Pin */
  GPIO_InitStruct.Pin = DIGIT_B3_Pin|DIGIT_A0_Pin|DIGIT_A1_Pin|DIGIT_A2_Pin
                          |DIGIT_A3_Pin|DIGIT_B0_Pin|DIGIT_B1_Pin|DIGIT_B2_Pin;
  GPIO_InitStruct.Mode = GPIO_MODE_OUTPUT_PP;
  GPIO_InitStruct.Pull = GPIO_NOPULL;
  GPIO_InitStruct.Speed = GPIO_SPEED_FREQ_LOW;
  HAL_GPIO_Init(GPIOB, &GPIO_InitStruct);

  /*Configure GPIO pin : HCSR04_TRIG_Pin */
  GPIO_InitStruct.Pin = HCSR04_TRIG_Pin;
  GPIO_InitStruct.Mode = GPIO_MODE_OUTPUT_PP;
  GPIO_InitStruct.Pull = GPIO_NOPULL;
  GPIO_InitStruct.Speed = GPIO_SPEED_FREQ_VERY_HIGH;
  HAL_GPIO_Init(HCSR04_TRIG_GPIO_Port, &GPIO_InitStruct);

  /* EXTI interrupt init*/
  HAL_NVIC_SetPriority(EXTI2_IRQn, 0, 0);
  HAL_NVIC_EnableIRQ(EXTI2_IRQn);

  HAL_NVIC_SetPriority(EXTI15_10_IRQn, 0, 0);
  HAL_NVIC_EnableIRQ(EXTI15_10_IRQn);

}

void Error_Handler(void)
{
  __disable_irq();
  while (1)
  {
  }
}
